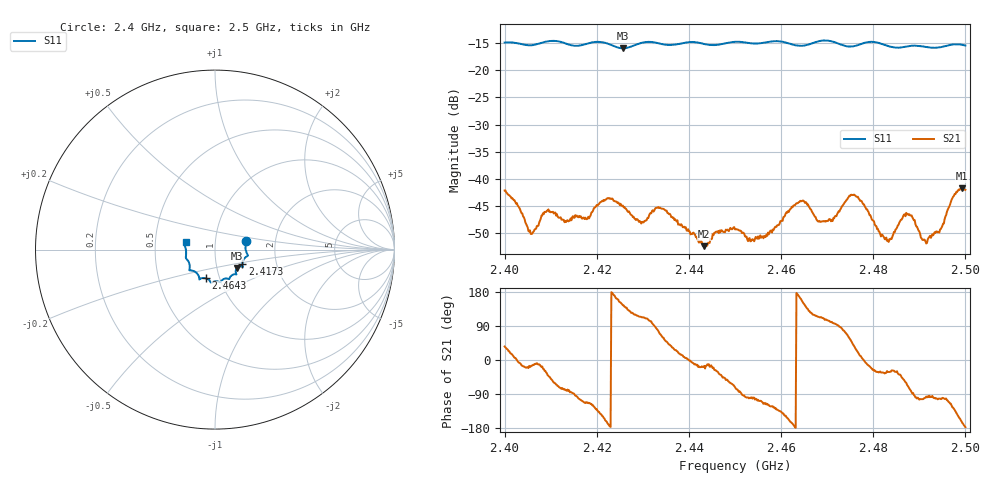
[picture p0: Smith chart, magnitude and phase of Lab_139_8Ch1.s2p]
# Hz S RI R 50
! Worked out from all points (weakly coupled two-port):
!   601 points, 2.4 GHz to 2.5 GHz, reference 50 ohm
!   highest |S21| = -41.71 dB at 2.4992 GHz (marker M1); lowest = -52.4 dB at 2.4433 GHz (marker M2)
!   lowest |S11| = -16.0 dB at 2.4257 GHz (marker M3), VSWR 1.38, Z = 62.4 - j13.1 ohm
!   |S11| at or under -10 dB: start of sweep to end of sweep
!   S12 and S22 are empty: the file has one direction only
!   S11 on the Smith chart (normalised r, x): 2.4 GHz: 1.41, +0.14; 2.4173 GHz: 1.34, -0.23; 2.4643 GHz: 0.86, -0.28; 2.5 GHz: 0.72, +0.06
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2.4e9  0.1733 0.0496  0.00636 0.00457  0 0  0 0
2.405667e9  0.17 0.00515  0.00298 -0.000915  0 0  0 0
2.409167e9  0.1823 -0.029  0.00417 -0.00293  0 0  0 0
2.416667e9  0.1531 -0.0747  -0.00128 -0.0042  0 0  0 0
2.417333e9  0.1526 -0.0821  -0.00162 -0.00395  0 0  0 0
2.422333e9  0.1493 -0.0939  -0.0065 -0.00146  0 0  0 0
2.425667e9  0.1224 -0.1021  -0.00462 0.00332  0 0  0 0
2.429667e9  0.1176 -0.1347  -0.00155 0.00356  0 0  0 0
2.433333e9  0.1129 -0.137  0.00123 0.00537  0 0  0 0
2.443333e9  0.0674 -0.1611  0.00232 -0.000645  0 0  0 0
2.45e9  0.0297 -0.1807  0.00109 -0.00326  0 0  0 0
2.4565e9  -0.0103 -0.18  -0.00114 -0.00268  0 0  0 0
2.464333e9  -0.0505 -0.1603  -0.00588 0.00203  0 0  0 0
2.466667e9  -0.0762 -0.1596  -0.00274 0.00422  0 0  0 0
2.470667e9  -0.0869 -0.1648  -0.000769 0.00415  0 0  0 0
2.476167e9  -0.1185 -0.1193  0.00608 0.00344  0 0  0 0
2.483333e9  -0.1408 -0.0893  0.00224 -0.00138  0 0  0 0
2.487333e9  -0.1572 -0.0542  0.00196 -0.00431  0 0  0 0
2.491667e9  -0.161 -0.0288  -0.000388 -0.00255  0 0  0 0
2.4945e9  -0.163 0.00454  -0.000693 -0.00335  0 0  0 0
2.499167e9  -0.1681 0.0372  -0.00782 -0.00252  0 0  0 0
2.5e9  -0.1638 0.0422  -0.00793 -0.000394  0 0  0 0
